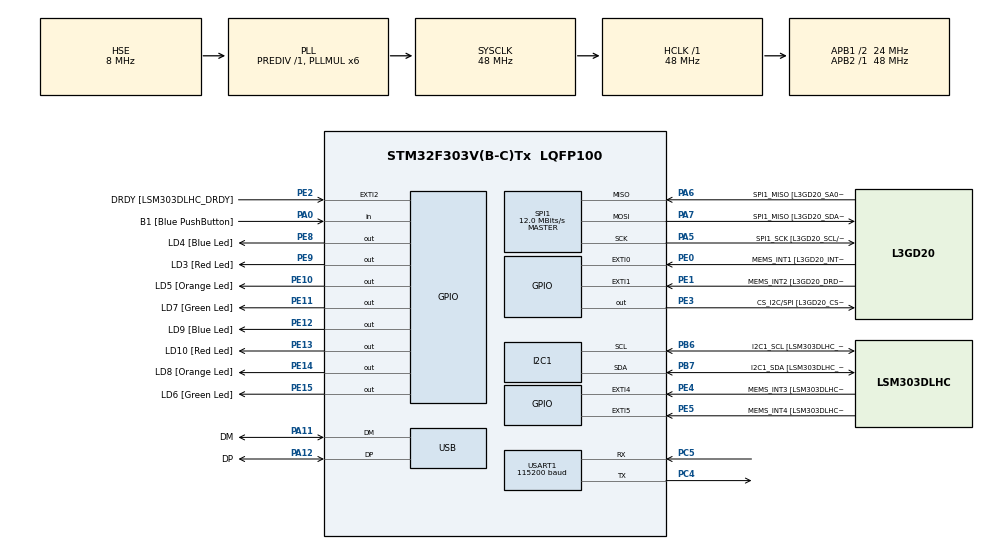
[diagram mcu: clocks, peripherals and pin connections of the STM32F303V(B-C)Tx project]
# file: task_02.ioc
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I2C1.Timing=0x00201D2B
I2C1.Timing-I2C=0x2000090E
Mcu.Family=STM32F3
Mcu.Name=STM32F303V(B-C)Tx
Mcu.Package=LQFP100
NVIC.PriorityGroup=NVIC_PRIORITYGROUP_0
PA0.GPIO_Label=B1 [Blue PushButton]
PA0.Signal=GPIO_Input
PA11.GPIO_Label=DM
PA11.Mode=Device
PA11.Signal=USB_DM
PA12.GPIO_Label=DP
PA12.Mode=Device
PA12.Signal=USB_DP
PA13.GPIO_Label=SWDIO
PA13.Mode=Serial_Wire
PA13.Signal=SYS_JTMS-SWDIO
PA14.GPIO_Label=SWCLK
PA14.Mode=Serial_Wire
PA14.Signal=SYS_JTCK-SWCLK
PA5.GPIO_Label=SPI1_SCK [L3GD20_SCL/SPC]
PA5.Mode=Full_Duplex_Master
PA5.Signal=SPI1_SCK
PA6.GPIO_Label=SPI1_MISO [L3GD20_SA0/SDO]
PA6.Mode=Full_Duplex_Master
PA6.Signal=SPI1_MISO
PA7.GPIO_Label=SPI1_MISO [L3GD20_SDA/SDI/SDO]
PA7.Mode=Full_Duplex_Master
PA7.Signal=SPI1_MOSI
PB3.GPIO_Label=SWO
PB3.Signal=SYS_JTDO-TRACESWO
PB6.GPIO_Label=I2C1_SCL [LSM303DLHC_SCL]
PB6.GPIO_Pu=GPIO_PULLUP
PB6.Mode=I2C
PB6.Signal=I2C1_SCL
PB7.GPIO_Label=I2C1_SDA [LSM303DLHC_SDA]
PB7.GPIO_Pu=GPIO_PULLUP
PB7.Mode=I2C
PB7.Signal=I2C1_SDA
PC14-OSC32_IN.GPIO_Label=OSC32_IN
PC14-OSC32_IN.Signal=RCC_OSC32_IN
PC15-OSC32_OUT.GPIO_Label=OSC32_OUT
PC15-OSC32_OUT.Signal=RCC_OSC32_OUT
PC4.Mode=Asynchronous
PC4.Signal=USART1_TX
PC5.Mode=Asynchronous
PC5.Signal=USART1_RX
PE0.GPIO_Label=MEMS_INT1 [L3GD20_INT1]
PE0.GPIO_ModeDefaultEXTI=GPIO_MODE_EVT_RISING
PE0.Signal=GPXTI0
PE1.GPIO_Label=MEMS_INT2 [L3GD20_DRDY/INT2]
PE1.GPIO_ModeDefaultEXTI=GPIO_MODE_EVT_RISING
PE1.Signal=GPXTI1
PE10.GPIO_Label=LD5 [Orange Led]
PE10.Signal=GPIO_Output
PE11.GPIO_Label=LD7 [Green Led]
PE11.Signal=GPIO_Output
PE12.GPIO_Label=LD9 [Blue Led]
PE12.Signal=GPIO_Output
PE13.GPIO_Label=LD10 [Red Led]
PE13.Signal=GPIO_Output
PE14.GPIO_Label=LD8 [Orange Led]
PE14.Signal=GPIO_Output
PE15.GPIO_Label=LD6 [Green Led]
PE15.Signal=GPIO_Output
PE2.GPIO_Label=DRDY [LSM303DLHC_DRDY]
PE2.GPIO_ModeDefaultEXTI=GPIO_MODE_EVT_RISING
PE2.Signal=GPXTI2
PE3.GPIO_Label=CS_I2C/SPI [L3GD20_CS_I2C/SPI]
PE3.Signal=GPIO_Output
PE4.GPIO_Label=MEMS_INT3 [LSM303DLHC_INT1]
PE4.GPIO_ModeDefaultEXTI=GPIO_MODE_EVT_RISING
PE4.Signal=GPXTI4
PE5.GPIO_Label=MEMS_INT4 [LSM303DLHC_INT2]
PE5.GPIO_ModeDefaultEXTI=GPIO_MODE_EVT_RISING
PE5.Signal=GPXTI5
PE8.GPIO_Label=LD4 [Blue Led]
PE8.Signal=GPIO_Output
PE9.GPIO_Label=LD3 [Red Led]
PE9.Signal=GPIO_Output
PF0-OSC_IN.GPIO_Label=OSC_IN
PF0-OSC_IN.Mode=HSE-External-Clock-Source
PF0-OSC_IN.Signal=RCC_OSC_IN
PF1-OSC_OUT.GPIO_Label=OSC_OUT
PF1-OSC_OUT.Signal=RCC_OSC_OUT
ProjectManager.HeapSize=0x200
ProjectManager.StackSize=0x400
ProjectManager.TargetToolchain=CMake
RCC.AHBFreq_Value=48000000
RCC.APB1CLKDivider=RCC_HCLK_DIV2
RCC.APB1Freq_Value=24000000
RCC.APB1TimFreq_Value=48000000
RCC.APB2Freq_Value=48000000
RCC.APB2TimFreq_Value=48000000
RCC.CortexFreq_Value=48000000
RCC.HCLKFreq_Value=48000000
RCC.HSE_VALUE=8000000
RCC.HSI_VALUE=8000000
RCC.LSE_VALUE=32768
RCC.PLLMUL=RCC_PLL_MUL6
RCC.SYSCLKFreq_VALUE=48000000
RCC.SYSCLKSourceVirtual=RCC_SYSCLKSOURCE_PLLCLK
RCC.USBFreq_Value=48000000
SPI1.BaudRatePrescaler=SPI_BAUDRATEPRESCALER_4
SPI1.BaudRatePrescaler-Full_Duplex_Master=SPI_BAUDRATEPRESCALER_2
SPI1.CalculateBaudRate=12.0 MBits/s
SPI1.CalculateBaudRate-Full_Duplex_Master=24.0 MBits/s
SPI1.DataSize=SPI_DATASIZE_8BIT
SPI1.Direction=SPI_DIRECTION_2LINES
SPI1.Mode=SPI_MODE_MASTER
SPI1.Mode-Full_Duplex_Master=SPI_MODE_MASTER
SPI1.VirtualType=VM_MASTER
USART1.BaudRate=115200
USART1.VirtualMode-Asynchronous=VM_ASYNC
board=STM32F3DISCOVERY

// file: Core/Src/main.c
/* USER CODE BEGIN Header */
/**
  ******************************************************************************
  * @file           : main.c
  * @brief          : Main program body
  ******************************************************************************
  * @attention
  *
  * Copyright (c) 2026 STMicroelectronics.
  * All rights reserved.
  *
  * This software is licensed under terms that can be found in the LICENSE file
  * in the root directory of this software component.
  * If no LICENSE file comes with this software, it is provided AS-IS.
  *
  ******************************************************************************
  */
/* USER CODE END Header */
#include "main.h"
#include "stm32f3xx_hal.h"

/* USER CODE BEGIN Includes */
#include <stdio.h>
#include <string.h>
#include <stdlib.h>
/* USER CODE END Includes */

/* USER CODE BEGIN PTD */
typedef struct {
    int16_t raw_acc_x, raw_acc_y, raw_acc_z;
    float g_x, g_y, g_z;
    float acc_offset_x, acc_offset_y, acc_offset_z;

    int16_t raw_gyro_x, raw_gyro_y, raw_gyro_z;
    float dps_x, dps_y, dps_z;
    float gyro_offset_x, gyro_offset_y, gyro_offset_z;
} Sensor_Data;
/* USER CODE END PTD */

I2C_HandleTypeDef hi2c1;

SPI_HandleTypeDef hspi1;

UART_HandleTypeDef huart1;

PCD_HandleTypeDef hpcd_USB_FS;

/* USER CODE BEGIN PV */
const uint16_t LSM303AGR_ADDR = 0x32;
const uint16_t CTRL_REG1_A = 0x20;
const uint16_t CTRL_REG4_A = 0x23;
const uint16_t OUT_X_L_A = 0x28;

#define GYRO_CTRL_REG1 0x20
#define GYRO_CTRL_REG1_VAL 0b00001111
#define GYRO_SENSITIVITY 0.00875f
#define ACCEL_SENSITIVITY 0.0039f

Sensor_Data sensor;
char uart_buf[100];
/* USER CODE END PV */

void SystemClock_Config(void);
static void MX_GPIO_Init(void);
static void MX_I2C1_Init(void);
static void MX_SPI1_Init(void);
static void MX_USART1_UART_Init(void);
static void MX_USB_PCD_Init(void);

/* USER CODE BEGIN 0 */
uint8_t read_gyro_register(uint8_t reg) {
    uint8_t tx = 0x80 | reg;
    uint8_t rx = 0;
    HAL_GPIO_WritePin(GPIOE, GPIO_PIN_3, GPIO_PIN_RESET);
    HAL_SPI_Transmit(&hspi1, &tx, 1, HAL_MAX_DELAY);
    HAL_SPI_Receive(&hspi1, &rx, 1, HAL_MAX_DELAY);
    HAL_GPIO_WritePin(GPIOE, GPIO_PIN_3, GPIO_PIN_SET);
    return rx;
}

void Init_LSM(void) {
    uint8_t tx[2] = { GYRO_CTRL_REG1, GYRO_CTRL_REG1_VAL };
    HAL_GPIO_WritePin(GPIOE, GPIO_PIN_3, GPIO_PIN_RESET);
    HAL_SPI_Transmit(&hspi1, tx, 2, HAL_MAX_DELAY);
    HAL_GPIO_WritePin(GPIOE, GPIO_PIN_3, GPIO_PIN_SET);

    uint8_t data = 0x67;
    HAL_I2C_Mem_Write(&hi2c1, LSM303AGR_ADDR, CTRL_REG1_A, 1, &data, 1, HAL_MAX_DELAY);

    data = 0x00;
    HAL_I2C_Mem_Write(&hi2c1, LSM303AGR_ADDR, CTRL_REG4_A, 1, &data, 1, HAL_MAX_DELAY);
}

void Offset_LSM(void) {
    float sum_ax = 0, sum_ay = 0, sum_az = 0;
    float sum_gx = 0, sum_gy = 0, sum_gz = 0;

    for(int i = 0; i < 20; i++) {
        uint8_t buf[6];
        HAL_I2C_Mem_Read(&hi2c1, LSM303AGR_ADDR, OUT_X_L_A | 0x80, 1, buf, 6, HAL_MAX_DELAY);
        sum_ax += (((int16_t)((buf[1] << 8) | buf[0])) >> 6)* (ACCEL_SENSITIVITY);
        sum_ay += (((int16_t)((buf[3] << 8) | buf[2])) >> 6)* (ACCEL_SENSITIVITY);
        sum_az += (((int16_t)((buf[5] << 8) | buf[4])) >> 6)* (ACCEL_SENSITIVITY);

        sum_gx += ((int16_t)((read_gyro_register(0x29) << 8) | read_gyro_register(0x28))) * GYRO_SENSITIVITY;
        sum_gy += ((int16_t)((read_gyro_register(0x2B) << 8) | read_gyro_register(0x2A))) * GYRO_SENSITIVITY;
        sum_gz += ((int16_t)((read_gyro_register(0x2D) << 8) | read_gyro_register(0x2C))) * GYRO_SENSITIVITY;

        HAL_Delay(10);
    }

    sensor.acc_offset_x = sum_ax / 20.0f;
    sensor.acc_offset_y = sum_ay / 20.0f;
    sensor.acc_offset_z = (sum_az / 20.0f) - 1.0f; // Assuming gravity is along Z-axis

    sensor.gyro_offset_x = sum_gx / 20.0f;
    sensor.gyro_offset_y = sum_gy / 20.0f;
    sensor.gyro_offset_z = sum_gz / 20.0f;
}

void Read_LSM(void) {
    uint8_t buf[6];
    HAL_I2C_Mem_Read(&hi2c1, LSM303AGR_ADDR, OUT_X_L_A | 0x80, 1, buf, 6, HAL_MAX_DELAY);

    sensor.raw_acc_x = ((int16_t)((buf[1] << 8) | buf[0])) >> 6;
    sensor.raw_acc_y = ((int16_t)((buf[3] << 8) | buf[2])) >> 6;
    sensor.raw_acc_z = ((int16_t)((buf[5] << 8) | buf[4])) >> 6;

    sensor.g_x = (sensor.raw_acc_x * ACCEL_SENSITIVITY) - sensor.acc_offset_x;
    sensor.g_y = (sensor.raw_acc_y * ACCEL_SENSITIVITY) - sensor.acc_offset_y;
    sensor.g_z = (sensor.raw_acc_z * ACCEL_SENSITIVITY) - sensor.acc_offset_z;

    sensor.raw_gyro_x = (int16_t)((read_gyro_register(0x29) << 8) | read_gyro_register(0x28));
    sensor.raw_gyro_y = (int16_t)((read_gyro_register(0x2B) << 8) | read_gyro_register(0x2A));
    sensor.raw_gyro_z = (int16_t)((read_gyro_register(0x2D) << 8) | read_gyro_register(0x2C));

    sensor.dps_x = (sensor.raw_gyro_x * GYRO_SENSITIVITY/1000.0f) - sensor.gyro_offset_x;
    sensor.dps_y = (sensor.raw_gyro_y * GYRO_SENSITIVITY/1000.0f) - sensor.gyro_offset_y;
    sensor.dps_z = (sensor.raw_gyro_z * GYRO_SENSITIVITY/1000.0f) - sensor.gyro_offset_z;
}

void Print_LSM(void) {
    char ax_sign = (sensor.g_x < 0) ? '-' : ' ';
    char ay_sign = (sensor.g_y < 0) ? '-' : ' ';
    char az_sign = (sensor.g_z < 0) ? '-' : ' ';

    int ax_int = abs((int)sensor.g_x);
    int ay_int = abs((int)sensor.g_y);
    int az_int = abs((int)sensor.g_z);

    int ax_frac = abs((int)((sensor.g_x - (int)sensor.g_x) * 100));
    int ay_frac = abs((int)((sensor.g_y - (int)sensor.g_y) * 100));
    int az_frac = abs((int)((sensor.g_z - (int)sensor.g_z) * 100));

    char gx_sign = (sensor.dps_x < 0) ? '-' : ' ';
    char gy_sign = (sensor.dps_y < 0) ? '-' : ' ';
    char gz_sign = (sensor.dps_z < 0) ? '-' : ' ';

    int gx_int = abs((int)sensor.dps_x);
    int gy_int = abs((int)sensor.dps_y);
    int gz_int = abs((int)sensor.dps_z);

    int gx_frac = abs((int)((sensor.dps_x - (int)sensor.dps_x) * 100));
    int gy_frac = abs((int)((sensor.dps_y - (int)sensor.dps_y) * 100));
    int gz_frac = abs((int)((sensor.dps_z - (int)sensor.dps_z) * 100));

    sprintf(uart_buf, "%c%d.%02d,%c%d.%02d,%c%d.%02d,%c%d.%02d,%c%d.%02d,%c%d.%02d\r\n",
            ax_sign, ax_int, ax_frac,
            ay_sign, ay_int, ay_frac,
            az_sign, az_int, az_frac,
            gx_sign, gx_int, gx_frac,
            gy_sign, gy_int, gy_frac,
            gz_sign, gz_int, gz_frac);

    HAL_UART_Transmit(&huart1, (uint8_t*)uart_buf, strlen(uart_buf), HAL_MAX_DELAY);
}
/* USER CODE END 0 */

int main(void)
{

  /* MCU Configuration--------------------------------------------------------*/

  /* Reset of all peripherals, Initializes the Flash interface and the Systick. */
  HAL_Init();

  /* Configure the system clock */
  SystemClock_Config();

  /* Initialize all configured peripherals */
  MX_GPIO_Init();
  MX_I2C1_Init();
  MX_SPI1_Init();
  MX_USART1_UART_Init();
  MX_USB_PCD_Init();
  /* USER CODE BEGIN 2 */
  memset(&sensor, 0, sizeof(Sensor_Data));

  Init_LSM();
  HAL_Delay(500);
  Offset_LSM();
  /* USER CODE END 2 */

  /* Infinite loop */
  /* USER CODE BEGIN WHILE */
  while (1)
  {
    Read_LSM();
    Print_LSM();
    HAL_Delay(100);
    /* USER CODE END WHILE */

  }
}

void SystemClock_Config(void)
{
  RCC_OscInitTypeDef RCC_OscInitStruct = {0};
  RCC_ClkInitTypeDef RCC_ClkInitStruct = {0};
  RCC_PeriphCLKInitTypeDef PeriphClkInit = {0};

  /** Initializes the RCC Oscillators according to the specified parameters
  * in the RCC_OscInitTypeDef structure.
  */
  RCC_OscInitStruct.OscillatorType = RCC_OSCILLATORTYPE_HSI|RCC_OSCILLATORTYPE_HSE;
  RCC_OscInitStruct.HSEState = RCC_HSE_BYPASS;
  RCC_OscInitStruct.HSEPredivValue = RCC_HSE_PREDIV_DIV1;
  RCC_OscInitStruct.HSIState = RCC_HSI_ON;
  RCC_OscInitStruct.HSICalibrationValue = RCC_HSICALIBRATION_DEFAULT;
  RCC_OscInitStruct.PLL.PLLState = RCC_PLL_ON;
  RCC_OscInitStruct.PLL.PLLSource = RCC_PLLSOURCE_HSE;
  RCC_OscInitStruct.PLL.PLLMUL = RCC_PLL_MUL6;
  if (HAL_RCC_OscConfig(&RCC_OscInitStruct) != HAL_OK)
  {
    Error_Handler();
  }

  /** Initializes the CPU, AHB and APB buses clocks
  */
  RCC_ClkInitStruct.ClockType = RCC_CLOCKTYPE_HCLK|RCC_CLOCKTYPE_SYSCLK
                              |RCC_CLOCKTYPE_PCLK1|RCC_CLOCKTYPE_PCLK2;
  RCC_ClkInitStruct.SYSCLKSource = RCC_SYSCLKSOURCE_PLLCLK;
  RCC_ClkInitStruct.AHBCLKDivider = RCC_SYSCLK_DIV1;
  RCC_ClkInitStruct.APB1CLKDivider = RCC_HCLK_DIV2;
  RCC_ClkInitStruct.APB2CLKDivider = RCC_HCLK_DIV1;

  if (HAL_RCC_ClockConfig(&RCC_ClkInitStruct, FLASH_LATENCY_1) != HAL_OK)
  {
    Error_Handler();
  }
  PeriphClkInit.PeriphClockSelection = RCC_PERIPHCLK_USB|RCC_PERIPHCLK_USART1
                              |RCC_PERIPHCLK_I2C1;
  PeriphClkInit.Usart1ClockSelection = RCC_USART1CLKSOURCE_PCLK2;
  PeriphClkInit.I2c1ClockSelection = RCC_I2C1CLKSOURCE_HSI;
  PeriphClkInit.USBClockSelection = RCC_USBCLKSOURCE_PLL;
  if (HAL_RCCEx_PeriphCLKConfig(&PeriphClkInit) != HAL_OK)
  {
    Error_Handler();
  }
}

static void MX_I2C1_Init(void)
{

  hi2c1.Instance = I2C1;
  hi2c1.Init.Timing = 0x00201D2B;
  hi2c1.Init.OwnAddress1 = 0;
  hi2c1.Init.AddressingMode = I2C_ADDRESSINGMODE_7BIT;
  hi2c1.Init.DualAddressMode = I2C_DUALADDRESS_DISABLE;
  hi2c1.Init.OwnAddress2 = 0;
  hi2c1.Init.OwnAddress2Masks = I2C_OA2_NOMASK;
  hi2c1.Init.GeneralCallMode = I2C_GENERALCALL_DISABLE;
  hi2c1.Init.NoStretchMode = I2C_NOSTRETCH_DISABLE;
  if (HAL_I2C_Init(&hi2c1) != HAL_OK)
  {
    Error_Handler();
  }

  /** Configure Analogue filter
  */
  if (HAL_I2CEx_ConfigAnalogFilter(&hi2c1, I2C_ANALOGFILTER_ENABLE) != HAL_OK)
  {
    Error_Handler();
  }

  /** Configure Digital filter
  */
  if (HAL_I2CEx_ConfigDigitalFilter(&hi2c1, 0) != HAL_OK)
  {
    Error_Handler();
  }

}

static void MX_SPI1_Init(void)
{

  /* SPI1 parameter configuration*/
  hspi1.Instance = SPI1;
  hspi1.Init.Mode = SPI_MODE_MASTER;
  hspi1.Init.Direction = SPI_DIRECTION_2LINES;
  hspi1.Init.DataSize = SPI_DATASIZE_8BIT;
  hspi1.Init.CLKPolarity = SPI_POLARITY_LOW;
  hspi1.Init.CLKPhase = SPI_PHASE_1EDGE;
  hspi1.Init.NSS = SPI_NSS_SOFT;
  hspi1.Init.BaudRatePrescaler = SPI_BAUDRATEPRESCALER_4;
  hspi1.Init.FirstBit = SPI_FIRSTBIT_MSB;
  hspi1.Init.TIMode = SPI_TIMODE_DISABLE;
  hspi1.Init.CRCCalculation = SPI_CRCCALCULATION_DISABLE;
  hspi1.Init.CRCPolynomial = 7;
  hspi1.Init.CRCLength = SPI_CRC_LENGTH_DATASIZE;
  hspi1.Init.NSSPMode = SPI_NSS_PULSE_ENABLE;
  if (HAL_SPI_Init(&hspi1) != HAL_OK)
  {
    Error_Handler();
  }

}

static void MX_USART1_UART_Init(void)
{

  huart1.Instance = USART1;
  huart1.Init.BaudRate = 115200;
  huart1.Init.WordLength = UART_WORDLENGTH_8B;
  huart1.Init.StopBits = UART_STOPBITS_1;
  huart1.Init.Parity = UART_PARITY_NONE;
  huart1.Init.Mode = UART_MODE_TX_RX;
  huart1.Init.HwFlowCtl = UART_HWCONTROL_NONE;
  huart1.Init.OverSampling = UART_OVERSAMPLING_16;
  huart1.Init.OneBitSampling = UART_ONE_BIT_SAMPLE_DISABLE;
  huart1.AdvancedInit.AdvFeatureInit = UART_ADVFEATURE_NO_INIT;
  if (HAL_UART_Init(&huart1) != HAL_OK)
  {
    Error_Handler();
  }

}

static void MX_USB_PCD_Init(void)
{

  hpcd_USB_FS.Instance = USB;
  hpcd_USB_FS.Init.dev_endpoints = 8;
  hpcd_USB_FS.Init.speed = PCD_SPEED_FULL;
  hpcd_USB_FS.Init.phy_itface = PCD_PHY_EMBEDDED;
  hpcd_USB_FS.Init.low_power_enable = DISABLE;
  hpcd_USB_FS.Init.battery_charging_enable = DISABLE;
  if (HAL_PCD_Init(&hpcd_USB_FS) != HAL_OK)
  {
    Error_Handler();
  }

}

static void MX_GPIO_Init(void)
{
  GPIO_InitTypeDef GPIO_InitStruct = {0};

  /* GPIO Ports Clock Enable */
  __HAL_RCC_GPIOE_CLK_ENABLE();
  __HAL_RCC_GPIOC_CLK_ENABLE();
  __HAL_RCC_GPIOF_CLK_ENABLE();
  __HAL_RCC_GPIOA_CLK_ENABLE();
  __HAL_RCC_GPIOB_CLK_ENABLE();

  /*Configure GPIO pin Output Level */
  HAL_GPIO_WritePin(GPIOE, CS_I2C_SPI_Pin|LD4_Pin|LD3_Pin|LD5_Pin
                          |LD7_Pin|LD9_Pin|LD10_Pin|LD8_Pin
                          |LD6_Pin, GPIO_PIN_RESET);

  /*Configure GPIO pins : DRDY_Pin MEMS_INT3_Pin MEMS_INT4_Pin MEMS_INT1_Pin
                           MEMS_INT2_Pin */
  GPIO_InitStruct.Pin = DRDY_Pin|MEMS_INT3_Pin|MEMS_INT4_Pin|MEMS_INT1_Pin
                          |MEMS_INT2_Pin;
  GPIO_InitStruct.Mode = GPIO_MODE_EVT_RISING;
  GPIO_InitStruct.Pull = GPIO_NOPULL;
  HAL_GPIO_Init(GPIOE, &GPIO_InitStruct);

  /*Configure GPIO pins : CS_I2C_SPI_Pin LD4_Pin LD3_Pin LD5_Pin
                           LD7_Pin LD9_Pin LD10_Pin LD8_Pin
                           LD6_Pin */
  GPIO_InitStruct.Pin = CS_I2C_SPI_Pin|LD4_Pin|LD3_Pin|LD5_Pin
                          |LD7_Pin|LD9_Pin|LD10_Pin|LD8_Pin
                          |LD6_Pin;
  GPIO_InitStruct.Mode = GPIO_MODE_OUTPUT_PP;
  GPIO_InitStruct.Pull = GPIO_NOPULL;
  GPIO_InitStruct.Speed = GPIO_SPEED_FREQ_LOW;
  HAL_GPIO_Init(GPIOE, &GPIO_InitStruct);

  /*Configure GPIO pin : B1_Pin */
  GPIO_InitStruct.Pin = B1_Pin;
  GPIO_InitStruct.Mode = GPIO_MODE_INPUT;
  GPIO_InitStruct.Pull = GPIO_NOPULL;
  HAL_GPIO_Init(B1_GPIO_Port, &GPIO_InitStruct);

}

void Error_Handler(void)
{
  __disable_irq();
  while (1)
  {
  }
}
